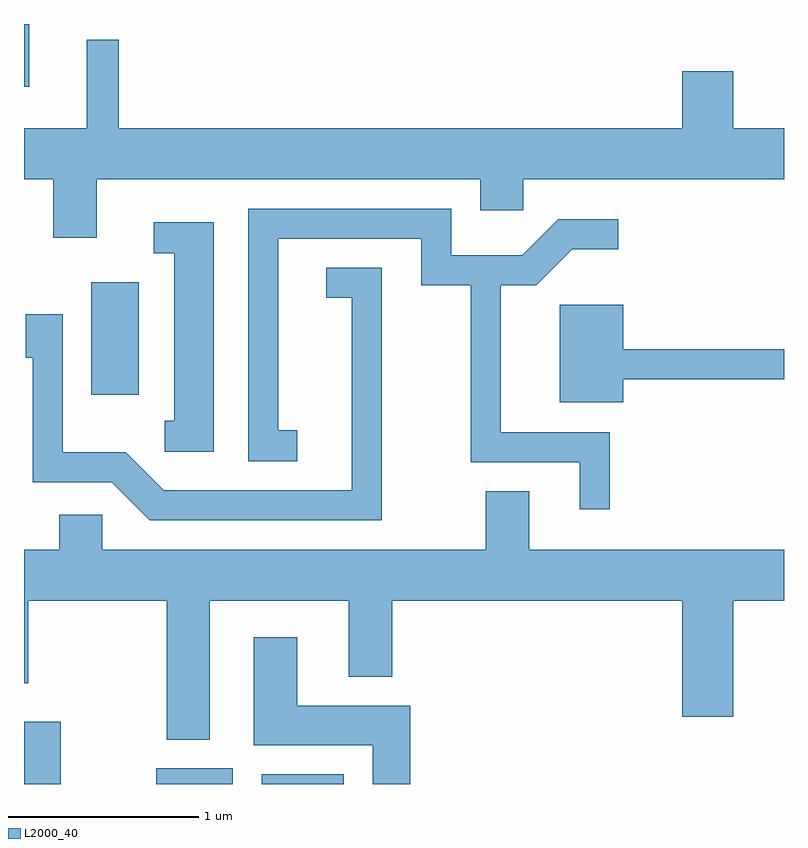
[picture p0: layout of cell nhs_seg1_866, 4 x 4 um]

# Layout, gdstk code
import gdstk
lib = gdstk.Library(unit=1e-6, precision=1e-09)
def R(c, l, rs):  # rectangles x0, y0, x1, y1
    for r in rs: c.add(gdstk.rectangle(r[:2], r[2:], *l))
def P(c, l, *ps):  # polygons
    for p in ps: c.add(gdstk.Polygon(p, *l))
L2000_40 = (2000, 40)

nhs_seg1_866 = lib.new_cell('nhs_seg1_866')
R(nhs_seg1_866, L2000_40, [(211.611,909.712,211.804,910.039), (212.306,909.712,212.709,909.794), (212.861,909.712,213.294,909.764), (211.966,911.761,212.214,912.354), (211.611,913.383,211.639,913.712)])
P(nhs_seg1_866, L2000_40, [(211.994,912.896),(214.011,912.896),(214.011,912.731),(214.239,912.731),(214.239,912.896),(215.611,912.896),(215.611,913.164),(215.344,913.164),(215.344,913.464),(215.076,913.464),(215.076,913.164),(212.109,913.164),(212.109,913.628),(211.941,913.628),(211.941,913.164),(211.611,913.164),(211.611,912.896),(211.766,912.896),(211.766,912.586),(211.994,912.586)],
  [(214.694,911.564),(214.119,911.564),(214.119,912.336),(214.307,912.336),(214.497,912.526),(214.738,912.526),(214.738,912.684),(214.424,912.684),(214.234,912.494),(213.859,912.494),(213.859,912.739),(212.791,912.739),(212.791,911.411),(213.048,911.411),(213.048,911.574),(212.949,911.574),(212.949,912.581),(213.701,912.581),(213.701,912.336),(213.961,912.336),(213.961,911.406),(214.536,911.406),(214.536,911.158),(214.694,911.158)],
  [(212.609,912.669),(212.293,912.669),(212.293,912.506),(212.401,912.506),(212.401,911.624),(212.353,911.624),(212.353,911.461),(212.609,911.461)],
  [(213.494,912.429),(213.203,912.429),(213.203,912.271),(213.336,912.271),(213.336,911.259),(212.347,911.259),(212.147,911.459),(211.814,911.459),(211.814,912.184),(211.621,912.184),(211.621,911.956),(211.656,911.956),(211.656,911.301),(212.074,911.301),(212.274,911.101),(213.494,911.101)],
  [(214.764,911.841),(215.611,911.841),(215.611,911.999),(214.764,911.999),(214.764,912.234),(214.431,912.234),(214.431,911.721),(214.764,911.721)],
  [(212.589,910.676),(213.321,910.676),(213.321,910.276),(213.549,910.276),(213.549,910.676),(215.076,910.676),(215.076,910.066),(215.344,910.066),(215.344,910.676),(215.611,910.676),(215.611,910.944),(214.269,910.944),(214.269,911.254),(214.041,911.254),(214.041,910.944),(212.024,910.944),(212.024,911.129),(211.796,911.129),(211.796,910.944),(211.611,910.944),(211.611,910.243),(211.634,910.243),(211.634,910.676),(212.361,910.676),(212.361,909.946),(212.589,909.946)],
  [(213.644,910.124),(213.049,910.124),(213.049,910.484),(212.821,910.484),(212.821,909.916),(213.446,909.916),(213.446,909.712),(213.644,909.712)])

lib.write_gds('nhs_seg1_866.gds')
